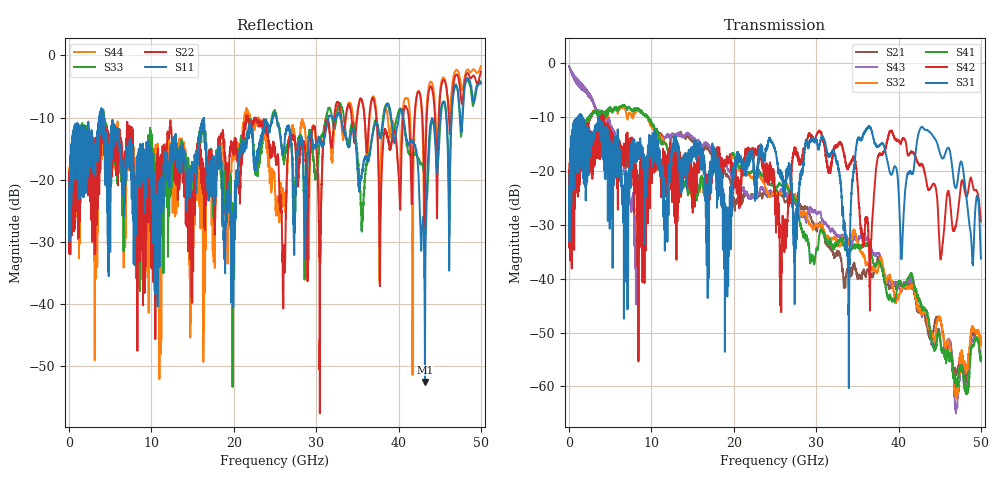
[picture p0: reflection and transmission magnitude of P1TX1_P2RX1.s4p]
! S11 = S11
! S12 = S12
! S13 = S13
! S14 = S14
! S21 = S21
! S22 = S22
! S23 = S23
! S24 = S24
! S31 = S31
! S32 = S32
! S33 = S33
! S34 = S34
! S41 = S41
! S42 = S42
! S43 = S43
! S44 = S44
! FILE: \\dale\Sys2\Erdem\APN20060024M7F\P1TX1_P2RX1.s4p
!$DUT_CFG_DESC: Default 4-Port Configuration
!$NUMBER_PORTS: 4
!$DIFF_PORT_MAP: 1|2P|2|2P|0|UC|0|UC|
!$PORT_MAP: 1|1|<<<<<<|2|2|>>>>>>|3|3|<<<<<<|4|4|>>>>>>|
# GHz S RI R 50.00
! FREQ  S11  S12  S13  S14
!  S21  S22  S23  S24
!  S31  S32  S33  S34
!  S41  S42  S43  S44
!  REAL  IMAG  REAL  IMAG  REAL  IMAG  REAL  IMAG
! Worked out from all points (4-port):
!   5000 points, 10 MHz to 50 GHz, reference 50 ohm
!   strongest paths, dB at 10 MHz, 12.51 GHz, 25.01 GHz, 37.51 GHz, 50 GHz:
!     S31: -25.1, -15.8, -16.2, -15.4, -36.3
!     S42: -23.3, -25.7, -27.7, -17.3, -29.3
!     S41: -31.1, -17.2, -23.8, -36.9, -55.3
!     S32: -31.1, -16.7, -24.3, -38.3, -51.6
!     S43: -0.5, -13.2, -24.5, -35.3, -55.0
!     S21: -0.5, -13.6, -23.5, -36.0, -52.3
!   lowest |S11| = -52.5 dB at 43.21 GHz (marker M1), VSWR 1.00, Z = 50.1 - j0.189 ohm
!   |S11| at or under -10 dB: 4.214 GHz to 24.76 GHz (20.54 GHz wide, 142 % of centre); 25.17 GHz to 31.51 GHz (6.337 GHz wide, 22.4 % of centre); 33.01 GHz to 38.21 GHz (5.198 GHz wide, 14.6 % of centre)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
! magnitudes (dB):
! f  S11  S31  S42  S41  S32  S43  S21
! 10 MHz  -22.8  -25.1  -23.3  -31.1  -31.1  -0.5  -0.5
! 8.15 GHz  -22.4  -16.6  -20.4  -8.5  -8.9  -35.8  -20.8
! 12.61 GHz  -16.2  -16.0  -18.9  -17.4  -16.8  -13.1  -13.4
! 30.81 GHz  -14.5  -13.7  -14.0  -31.6  -30.8  -29.4  -30.7
! 33.83 GHz  -14.6  -34.7  -19.3  -34.8  -33.5  -32.7  -38.5
! 43.21 GHz  -52.5  -12.3  -20.5  -45.6  -45.8  -45.8  -47.0
! 50 GHz  -4.5  -36.3  -29.3  -55.3  -51.6  -55.0  -52.3
